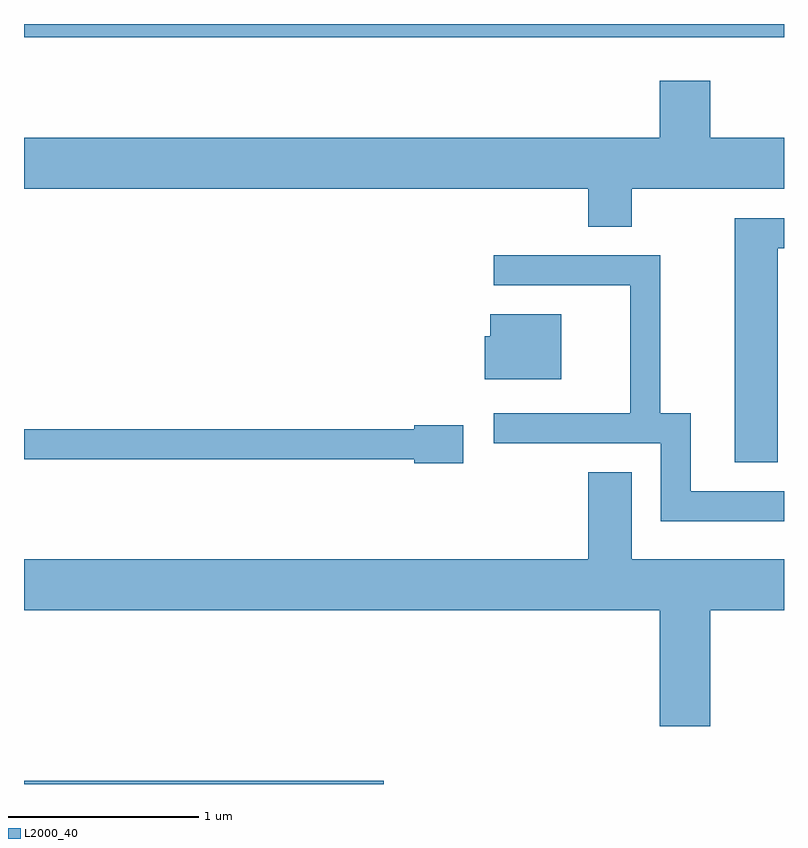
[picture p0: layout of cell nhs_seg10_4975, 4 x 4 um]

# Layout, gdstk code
import gdstk
lib = gdstk.Library(unit=1e-6, precision=1e-09)
def R(c, l, rs):  # rectangles x0, y0, x1, y1
    for r in rs: c.add(gdstk.rectangle(r[:2], r[2:], *l))
def P(c, l, *ps):  # polygons
    for p in ps: c.add(gdstk.Polygon(p, *l))
L2000_40 = (2000, 40)

nhs_seg10_4975 = lib.new_cell('nhs_seg10_4975')
R(nhs_seg10_4975, L2000_40, [(331.611,2148.522,333.504,2148.539), (331.611,2152.451,335.611,2152.522)])
P(nhs_seg10_4975, L2000_40, [(334.809,2151.656),(335.611,2151.656),(335.611,2151.924),(335.224,2151.924),(335.224,2152.224),(334.956,2152.224),(334.956,2151.924),(331.611,2151.924),(331.611,2151.656),(334.581,2151.656),(334.581,2151.456),(334.809,2151.456)],
  [(335.579,2151.341),(335.611,2151.341),(335.611,2151.499),(335.351,2151.499),(335.351,2150.216),(335.579,2150.216)],
  [(335.611,2150.064),(335.119,2150.064),(335.119,2150.474),(334.959,2150.474),(334.959,2151.304),(334.083,2151.304),(334.083,2151.146),(334.801,2151.146),(334.801,2150.474),(334.083,2150.474),(334.083,2150.316),(334.961,2150.316),(334.961,2149.906),(335.611,2149.906)],
  [(334.439,2150.994),(334.066,2150.994),(334.066,2150.879),(334.036,2150.879),(334.036,2150.651),(334.439,2150.651)],
  [(333.924,2150.409),(333.666,2150.409),(333.666,2150.389),(331.611,2150.389),(331.611,2150.231),(333.666,2150.231),(333.666,2150.211),(333.924,2150.211)],
  [(335.224,2149.436),(335.611,2149.436),(335.611,2149.704),(334.809,2149.704),(334.809,2150.164),(334.581,2150.164),(334.581,2149.704),(331.611,2149.704),(331.611,2149.436),(334.956,2149.436),(334.956,2148.826),(335.224,2148.826)])

lib.write_gds('nhs_seg10_4975.gds')
